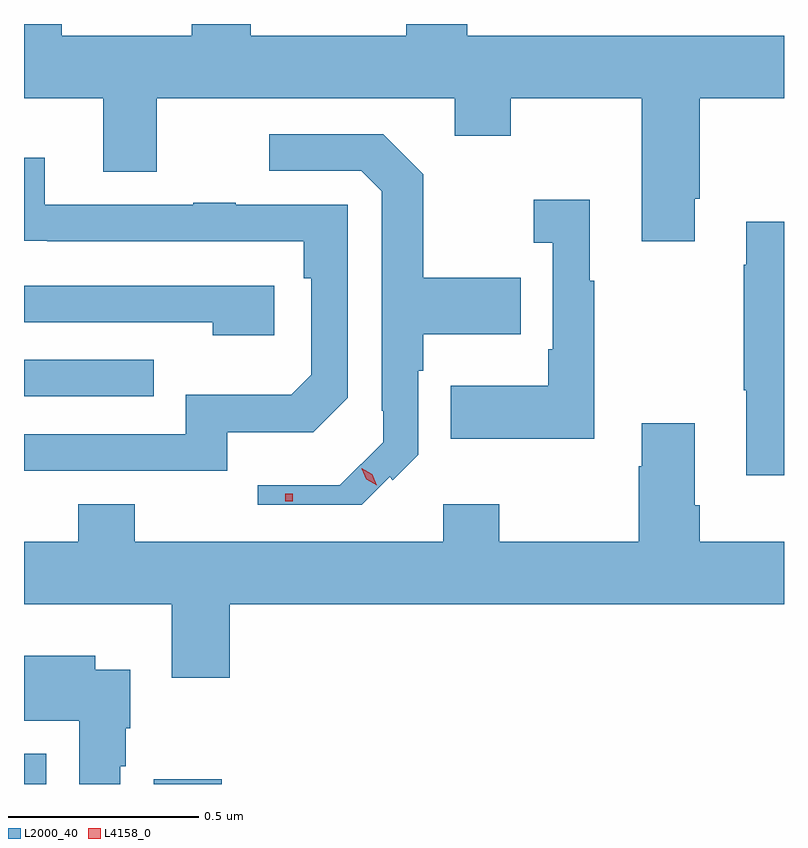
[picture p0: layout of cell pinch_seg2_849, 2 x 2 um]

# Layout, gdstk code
import gdstk
lib = gdstk.Library(unit=1e-6, precision=1e-09)
def R(c, l, rs):  # rectangles x0, y0, x1, y1
    for r in rs: c.add(gdstk.rectangle(r[:2], r[2:], *l))
def P(c, l, *ps):  # polygons
    for p in ps: c.add(gdstk.Polygon(p, *l))
L2000_40 = (2000, 40)
L4158_0 = (4158, 0)

pinch_seg2_849 = lib.new_cell('pinch_seg2_849')
R(pinch_seg2_849, L2000_40, [(749.952,589.887,750.01,589.966), (750.293,589.887,750.472,589.9), (749.952,590.907,750.293,591.003)])
P(pinch_seg2_849, L2000_40, [(751.717,591.427),(751.73,591.427),(751.73,591.692),(751.952,591.692),(751.952,591.856),(751.118,591.856),(751.118,591.887),(750.958,591.887),(750.958,591.856),(750.549,591.856),(750.549,591.887),(750.394,591.887),(750.394,591.856),(750.051,591.856),(750.051,591.887),(749.952,591.887),(749.952,591.692),(750.161,591.692),(750.161,591.498),(750.301,591.498),(750.301,591.692),(751.085,591.692),(751.085,591.593),(751.233,591.593),(751.233,591.692),(751.577,591.692),(751.577,591.315),(751.717,591.315)],
  [(750.914,590.695),(750.923,590.686),(750.99,590.753),(750.99,590.975),(751.003,590.975),(751.003,591.071),(751.259,591.071),(751.259,591.219),(751.003,591.219),(751.003,591.491),(750.897,591.597),(750.597,591.597),(750.597,591.501),(750.84,591.501),(750.894,591.447),(750.894,590.869),(750.897,590.869),(750.897,590.787),(750.783,590.673),(750.567,590.673),(750.567,590.622),(750.841,590.622)],
  [(750.487,590.813),(750.713,590.813),(750.804,590.904),(750.804,591.411),(750.509,591.411),(750.509,591.416),(750.397,591.416),(750.397,591.411),(750.007,591.411),(750.007,591.535),(749.952,591.535),(749.952,591.316),(750.013,591.316),(750.013,591.315),(750.688,591.315),(750.688,591.218),(750.708,591.218),(750.708,590.964),(750.655,590.911),(750.378,590.911),(750.378,590.808),(749.952,590.808),(749.952,590.712),(750.487,590.712)],
  [(751.453,591.211),(751.441,591.211),(751.441,591.424),(751.293,591.424),(751.293,591.311),(751.344,591.311),(751.344,591.031),(751.332,591.031),(751.332,590.935),(751.075,590.935),(751.075,590.795),(751.453,590.795)],
  [(751.952,591.367),(751.853,591.367),(751.853,591.254),(751.846,591.254),(751.846,590.923),(751.853,590.923),(751.853,590.7),(751.952,590.7)],
  [(750.61,591.198),(749.952,591.198),(749.952,591.102),(750.449,591.102),(750.449,591.068),(750.61,591.068)],
  [(750.494,590.36),(751.952,590.36),(751.952,590.524),(751.73,590.524),(751.73,590.62),(751.717,590.62),(751.717,590.836),(751.577,590.836),(751.577,590.723),(751.57,590.723),(751.57,590.524),(751.203,590.524),(751.203,590.623),(751.055,590.623),(751.055,590.524),(750.243,590.524),(750.243,590.623),(750.095,590.623),(750.095,590.524),(749.952,590.524),(749.952,590.36),(750.341,590.36),(750.341,590.166),(750.494,590.166)],
  [(750.205,589.934),(750.22,589.934),(750.22,590.034),(750.232,590.034),(750.232,590.188),(750.139,590.188),(750.139,590.224),(749.952,590.224),(749.952,590.054),(750.098,590.054),(750.098,589.887),(750.205,589.887)])
R(pinch_seg2_849, L4158_0, [(750.639,590.631,750.659,590.651)])
P(pinch_seg2_849, L4158_0, [(750.88,590.673),(750.853,590.689),(750.841,590.717),(750.841,590.718),(750.841,590.718),(750.868,590.702),(750.88,590.673),(750.88,590.673)])

lib.write_gds('pinch_seg2_849.gds')
